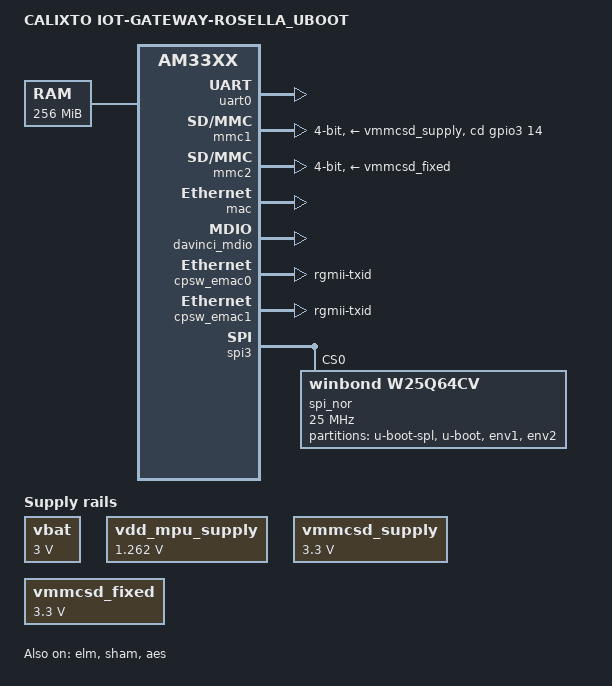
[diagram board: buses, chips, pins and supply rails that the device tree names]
/*
 * Copyright (C) 2020 Calixto Systems Pvt Ltd - http://www.calixto.com/
 *
 * This program is free software; you can redistribute it and/or modify
 * it under the terms of the GNU General Public License version 2 as
 * published by the Free Software Foundation.
 */

/*
 * AM335x CALIXTO IoT Gateway Rosella
 * http:// http://www.calixto.co.in/
 * Modified from am335x-evmsk
 * Modified by Vipin Vijayan <vipin.v@calixto.in>
 */

 /dts-v1/;

#include "am33xx.dtsi"
#include "versa-include.dtsi"
#include <dt-bindings/interrupt-controller/irq.h>
/ {
	model = "CALIXTO IOT-GATEWAY-ROSELLA_UBOOT";
	compatible = "calixto,iot-gateway-rosella-256", "ti,am335x", "ti,am33xx";

	chosen {
		stdout-path = &uart0;
		tick-timer = &timer2;
	};

	cpus {
		cpu@0 {
			cpu0-supply = <&vdd_mpu_supply>;
		};
	};

	memory@80000000 {
		device_type = "memory";
		reg = <0x80000000 0x10000000>; /* 256 MB */
	};
	
	vbat: fixedregulator0 {
		compatible = "regulator-fixed";
		regulator-name = "vbat";
		regulator-min-microvolt = <3000000>;
		regulator-max-microvolt = <3000000>;
		regulator-boot-on;
	};
	
	vdd_mpu_supply: fixedregulator1 {
		compatible = "regulator-fixed";
		regulator-name = "vdd-mpu-regulator";
		regulator-min-microvolt = <1262000>;
		regulator-max-microvolt = <1262000>;
		regulator-boot-on;
		regulator-always-on;
	};
	
	vmmcsd_supply: fixedregulator2 {
		compatible = "regulator-fixed";
		regulator-name = "vdd-mpu-regulator";
		regulator-min-microvolt = <3300000>;
		regulator-max-microvolt = <3300000>;
		regulator-active-high;
		regulator-always-on;
	};
	
	vmmcsd_fixed: fixedregulator3 {
                compatible = "regulator-fixed";
                regulator-name = "vmmcsd-regulator";
                regulator-min-microvolt = <3300000>;
                regulator-max-microvolt = <3300000>;
                regulator-boot-on;
                regulator-always-on;
        };

};

&am33xx_pinmux {
	pinctrl-names = "default";


	uart0_pins: pinmux_uart0_pins {
		pinctrl-single,pins = <
			AM33XX_PADCONF(AM335X_PIN_UART0_RXD, PIN_INPUT_PULLUP, MUX_MODE0)
			AM33XX_PADCONF(AM335X_PIN_UART0_TXD, PIN_OUTPUT_PULLDOWN, MUX_MODE0)
		>;
	};

        mmc1_pins: pinmux_mmc1_pins {
                pinctrl-single,pins = <
                        AM33XX_PADCONF(AM335X_PIN_MMC0_DAT0, PIN_INPUT_PULLUP, MUX_MODE0)
			AM33XX_PADCONF(AM335X_PIN_MMC0_DAT1, PIN_INPUT_PULLUP, MUX_MODE0)
			AM33XX_PADCONF(AM335X_PIN_MMC0_DAT2, PIN_INPUT_PULLUP, MUX_MODE0)
			AM33XX_PADCONF(AM335X_PIN_MMC0_DAT3, PIN_INPUT_PULLUP, MUX_MODE0)
			AM33XX_PADCONF(AM335X_PIN_MMC0_CMD, PIN_INPUT_PULLUP, MUX_MODE0)
			AM33XX_PADCONF(AM335X_PIN_MMC0_CLK, PIN_INPUT_PULLUP, MUX_MODE0)
                        AM33XX_PADCONF(AM335X_PIN_MCASP0_ACLKX, PIN_INPUT, MUX_MODE7) /* mcasp0_aclkx.gpio3_14 */
                >;
        };

	mmc1_pins_sleep: pinmux_mmc1_pins_sleep {
                pinctrl-single,pins = <
                        AM33XX_PADCONF(AM335X_PIN_MMC0_DAT0, PIN_INPUT_PULLDOWN, MUX_MODE7)
			AM33XX_PADCONF(AM335X_PIN_MMC0_DAT1, PIN_INPUT_PULLDOWN, MUX_MODE7)
			AM33XX_PADCONF(AM335X_PIN_MMC0_DAT2, PIN_INPUT_PULLDOWN, MUX_MODE7)
			AM33XX_PADCONF(AM335X_PIN_MMC0_DAT3, PIN_INPUT_PULLDOWN, MUX_MODE7)
			AM33XX_PADCONF(AM335X_PIN_MMC0_CMD, PIN_INPUT_PULLDOWN, MUX_MODE7)
			AM33XX_PADCONF(AM335X_PIN_MMC0_CLK, PIN_INPUT_PULLDOWN, MUX_MODE7)
                        AM33XX_PADCONF(AM335X_PIN_MCASP0_ACLKX, PIN_INPUT, MUX_MODE7)           /* mcasp0_aclkx.gpio3_14 */
                >;
        };
        
        emmc_pins: pinmux_emmc_pins {
		pinctrl-single,pins = <
			AM33XX_PADCONF(AM335X_PIN_GPMC_CLK, PIN_INPUT_PULLUP, MUX_MODE3) /* gpmc_clk.mmc2_clk */
			AM33XX_PADCONF(AM335X_PIN_GPMC_CSN3,  PIN_INPUT_PULLUP, MUX_MODE3) /* gpmc_csn3.mmc2_cmd */
			AM33XX_PADCONF(AM335X_PIN_GPMC_AD12,  PIN_INPUT_PULLUP, MUX_MODE3) /* gpmc_ad12.mmc2_dat0 */
			AM33XX_PADCONF(AM335X_PIN_GPMC_AD13,  PIN_INPUT_PULLUP, MUX_MODE3) /* gpmc_ad13.mmc2_dat1 */
			AM33XX_PADCONF(AM335X_PIN_GPMC_AD14,  PIN_INPUT_PULLUP, MUX_MODE3) /* gpmc_ad14.mmc2_dat2 */
			AM33XX_PADCONF(AM335X_PIN_GPMC_AD15,  PIN_INPUT_PULLUP, MUX_MODE3) /* gpmc_ad15.mmc2_dat3 */
		>;
	};
	
	cpsw_default: cpsw_default {
		pinctrl-single,pins = <
			/* Slave 1 */
			AM33XX_PADCONF(AM335X_PIN_MII1_CRS, PIN_INPUT_PULLDOWN, MUX_MODE1)      /* mii1_crs.rmii1_crs_dv */
			AM33XX_PADCONF(AM335X_PIN_MII1_RX_ER, PIN_INPUT_PULLDOWN, MUX_MODE1)    /* mii1_rxerr.mii1_rxerr */
			AM33XX_PADCONF(AM335X_PIN_MII1_TX_EN, PIN_OUTPUT_PULLDOWN, MUX_MODE1)    /* mii1_txen.mii1_txen   */
			AM33XX_PADCONF(AM335X_PIN_MII1_TXD1, PIN_OUTPUT_PULLDOWN, MUX_MODE1)    /* mii1_txd1.mii1_txd1   */
			AM33XX_PADCONF(AM335X_PIN_MII1_TXD0, PIN_OUTPUT_PULLDOWN, MUX_MODE1)    /* mii1_txd0.mii1_txd0   */
			AM33XX_PADCONF(AM335X_PIN_MII1_RXD1, PIN_INPUT_PULLDOWN, MUX_MODE1)     /* mii1_rxd1.mii1_rxd2   */
			AM33XX_PADCONF(AM335X_PIN_MII1_RXD0, PIN_INPUT_PULLDOWN, MUX_MODE1)     /* mii1_rxd0.mii1_rxd0   */
			AM33XX_PADCONF(AM335X_PIN_RMII1_REF_CLK, PIN_INPUT_PULLDOWN, MUX_MODE0)  /* rmii1_refclk.rmii1_refclk */
		>;
	};

	cpsw_sleep: cpsw_sleep {
		pinctrl-single,pins = <
			/* Slave 1 reset value */
			AM33XX_PADCONF(AM335X_PIN_MII1_CRS, PIN_INPUT_PULLDOWN, MUX_MODE7)
			AM33XX_PADCONF(AM335X_PIN_MII1_RX_ER, PIN_INPUT_PULLDOWN, MUX_MODE7)
			AM33XX_PADCONF(AM335X_PIN_MII1_TX_EN, PIN_INPUT_PULLDOWN, MUX_MODE7)
			AM33XX_PADCONF(AM335X_PIN_MII1_TXD1, PIN_INPUT_PULLDOWN, MUX_MODE7)
			AM33XX_PADCONF(AM335X_PIN_MII1_TXD0, PIN_INPUT_PULLDOWN, MUX_MODE7)
			AM33XX_PADCONF(AM335X_PIN_MII1_RXD1, PIN_INPUT_PULLDOWN, MUX_MODE7)
			AM33XX_PADCONF(AM335X_PIN_MII1_RXD0, PIN_INPUT_PULLDOWN, MUX_MODE7)
			AM33XX_PADCONF(AM335X_PIN_RMII1_REF_CLK, PIN_INPUT_PULLDOWN, MUX_MODE7)
		>;
	};

	davinci_mdio_default: davinci_mdio_default {
		pinctrl-single,pins = <
			/* MDIO */
			AM33XX_PADCONF(AM335X_PIN_MDIO, PIN_INPUT_PULLUP | SLEWCTRL_FAST, MUX_MODE0)
			AM33XX_PADCONF(AM335X_PIN_MDC, PIN_OUTPUT_PULLUP, MUX_MODE0)
		>;
	};

	davinci_mdio_sleep: davinci_mdio_sleep {
		pinctrl-single,pins = <
			/* MDIO reset value */
			AM33XX_PADCONF(AM335X_PIN_MDIO, PIN_INPUT_PULLDOWN, MUX_MODE7)
			AM33XX_PADCONF(AM335X_PIN_MDC, PIN_INPUT_PULLDOWN, MUX_MODE7)
		>;
	};
	
	
	
	spi0_pins_default: spi0_pins_default {
		pinctrl-single,pins = <
			AM33XX_IOPAD(0x950, PIN_INPUT_PULLUP | MUX_MODE0) /* (A17) spi0_sclk.spi0_sclk */
			AM33XX_IOPAD(0x954, PIN_INPUT_PULLUP | MUX_MODE0) /* (B17) spi0_d0.spi0_d0 */
			AM33XX_IOPAD(0x958, PIN_INPUT_PULLUP | MUX_MODE0) /* (B16) spi0_d1.spi0_d1 */
			AM33XX_IOPAD(0x95c, PIN_INPUT_PULLUP | MUX_MODE0) /* (A16) spi0_cs0.spi0_cs0 */
		>;
	};
	

};



&uart0 {
	pinctrl-names = "default";
	pinctrl-0 = <&uart0_pins>;

	status = "okay";
};

&cppi41dma  {
	status = "okay";
};

&elm {
	status = "okay";
};

&sham {
	status = "okay";
};

&aes {
	status = "okay";
};

&rtc {
	status = "disabled";

};


&mmc1 {
	status = "okay";
	vmmc-supply = <&vmmcsd_supply>;
	bus-width = <4>;
	pinctrl-names = "default";
	pinctrl-0 = <&mmc1_pins>;
	cd-gpios = <&gpio3 14 GPIO_ACTIVE_HIGH>;
};

&mmc2 {
    status = "okay";
    pinctrl-names = "default";
    pinctrl-0 = <&emmc_pins>;
    vmmc-supply = <&vmmcsd_fixed>;
    bus-width = <4>;
    ti,non-removable;
    /* dmas = <&edma_xbar 12 0 1 &edma_xbar 13 0 2>; */
    /* dma-names = "tx", "rx"; */
};

&edma {
	ti,edma-xbar-event-map = /bits/ 16 <1 12
					    2 13>;
};

&mac {
	pinctrl-names = "default", "sleep";
	pinctrl-0 = <&cpsw_default>;
	pinctrl-1 = <&cpsw_sleep>;
	status = "okay";
};

&davinci_mdio {
	pinctrl-names = "default", "sleep";
	pinctrl-0 = <&davinci_mdio_default>;
	pinctrl-1 = <&davinci_mdio_sleep>;
	status = "okay";
};

&cpsw_emac0 {
	phy_id = <&davinci_mdio>, <0>;
	phy-mode = "rgmii-txid";
};

&cpsw_emac1 {
	phy_id = <&davinci_mdio>, <1>;
	phy-mode = "rgmii-txid";
};

&spi3 {
	pinctrl-names = "default";
	pinctrl-0 = <&spi0_pins_default>;
	status = "okay";
	

	spi_nor: flash@0 {
		 #address-cells = <1>;
		 #size-cells = <1>;
		 compatible = "winbond,w25q64cv" , "jedec,spi-nor";
		 reg = <0>;
		 
		 spi-max-frequency = <25000000>;
   		 spi-tx-bus-width = <1>;
   		 spi-rx-bus-width = <1>;
   		 spi-cpol;
   		 spi-cpha;
		 


		 partition@0 {
			 label = "u-boot-spl";
			 reg = <0x000000 0x80000>;
		 };


		 partition@1 {
			 label = "u-boot";
			 reg = <0x80000 0x100000>;
		 };

		 partition@2 {
			 label = "env1";
			 reg = <0x180000 0x20000>;
		 };

		 partition@3 {
			 label = "env2";
			 reg = <0x1A0000 0x660000>;
		 };
	};
};

